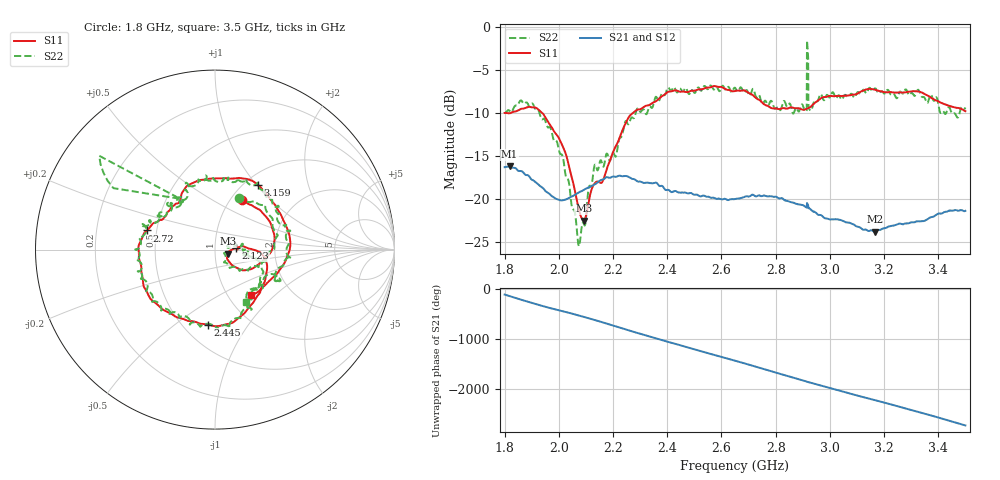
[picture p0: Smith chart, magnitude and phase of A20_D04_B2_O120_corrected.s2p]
! Created with skrf 1.9.0 (http://scikit-rf.org).
# Hz S RI R 50.0
!freq ReS11 ImS11 ReS21 ImS21 ReS12 ImS12 ReS22 ImS22
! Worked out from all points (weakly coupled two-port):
!   1601 points, 1.8 GHz to 3.5 GHz, reference 50 ohm
!   highest |S21| = -16.21 dB at 1.818 GHz (marker M1); lowest = -23.8 dB at 3.165 GHz (marker M2)
!   lowest |S11| = -22.5 dB at 2.092 GHz (marker M3), VSWR 1.16, Z = 57.6 - j2.67 ohm
!   |S11| at or under -10 dB: start of sweep to 1.824 GHz; 1.938 GHz to 2.274 GHz (336.1 MHz wide, 16 % of centre)
!   |S22| runs from -25.4 to -1.6 dB; largest |S21 - S12| = 0.0025
!   S11 on the Smith chart (normalised r, x): 1.8 GHz: 1.13, +0.70; 2.123 GHz: 1.26, +0.02; 2.445 GHz: 0.66, -0.67; 2.72 GHz: 0.44, +0.11; 3.159 GHz: 1.14, +1.02; 3.5 GHz: 1.27, -0.72
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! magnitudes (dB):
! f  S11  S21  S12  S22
! 1.8 GHz  -10.0  -16.3  -16.3  -9.9
! 1.818 GHz  -10.0  -16.2  -16.2  -9.8
! 1.902 GHz  -9.4  -17.8  -17.7  -8.9
! 1.968 GHz  -11.4  -19.5  -19.5  -11.7
! 2.024 GHz  -14.6  -20.1  -20.0  -17.1
! 2.071 GHz  -20.8  -19.3  -19.3  -25.0
! 2.084 GHz  -22.2  -19.1  -19.0  -23.4
! 2.092 GHz  -22.5  -18.9  -19.0  -22.9
! 2.123 GHz  -18.7  -18.5  -18.4  -18.0
! 2.163 GHz  -17.8  -17.7  -17.6  -16.2
! 2.26 GHz  -10.4  -17.5  -17.5  -11.2
! 2.367 GHz  -8.4  -18.4  -18.3  -8.6
! 2.445 GHz  -7.5  -19.2  -19.2  -7.2
! 2.65 GHz  -7.5  -20.0  -19.9  -7.1
! 2.72 GHz  -8.1  -19.6  -19.5  -7.4
! 2.867 GHz  -9.4  -20.4  -20.4  -10.0
! 2.924 GHz  -9.4  -21.1  -21.0  -9.6
! 2.934 GHz  -9.2  -21.3  -21.3  -9.5
! 3.159 GHz  -7.3  -23.7  -23.6  -7.5
! 3.165 GHz  -7.3  -23.8  -23.7  -7.2
! 3.217 GHz  -7.6  -23.2  -23.1  -7.5
! 3.5 GHz  -9.8  -21.4  -21.3  -9.4
